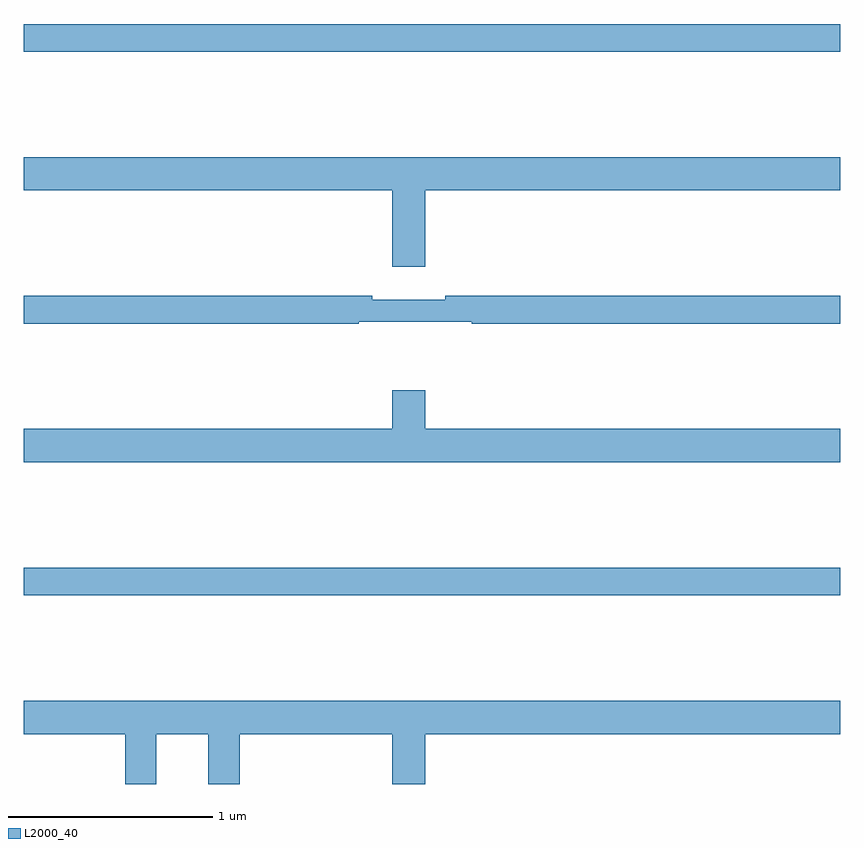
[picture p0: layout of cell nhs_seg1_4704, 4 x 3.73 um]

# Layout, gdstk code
import gdstk
lib = gdstk.Library(unit=1e-6, precision=1e-09)
def R(c, l, rs):  # rectangles x0, y0, x1, y1
    for r in rs: c.add(gdstk.rectangle(r[:2], r[2:], *l))
def P(c, l, *ps):  # polygons
    for p in ps: c.add(gdstk.Polygon(p, *l))
L2000_40 = (2000, 40)

nhs_seg1_4704 = lib.new_cell('nhs_seg1_4704')
R(nhs_seg1_4704, L2000_40, [(367,507.124,371,507.26), (367,509.788,371,509.924)])
P(nhs_seg1_4704, L2000_40, [(368.968,509.108),(371,509.108),(371,509.272),(367,509.272),(367,509.108),(368.804,509.108),(368.804,508.734),(368.968,508.734)],
  [(368.642,508.464),(369.194,508.464),(369.194,508.456),(371,508.456),(371,508.592),(369.064,508.592),(369.064,508.573),(368.708,508.573),(368.708,508.592),(367,508.592),(367,508.456),(368.642,508.456)],
  [(368.804,508.129),(368.804,507.94),(367,507.94),(367,507.776),(371,507.776),(371,507.94),(368.968,507.94),(368.968,508.129)],
  [(367.648,506.444),(367.904,506.444),(367.904,506.199),(368.057,506.199),(368.057,506.444),(368.804,506.444),(368.804,506.199),(368.968,506.199),(368.968,506.444),(371,506.444),(371,506.608),(367,506.608),(367,506.444),(367.496,506.444),(367.496,506.199),(367.648,506.199)])

lib.write_gds('nhs_seg1_4704.gds')
